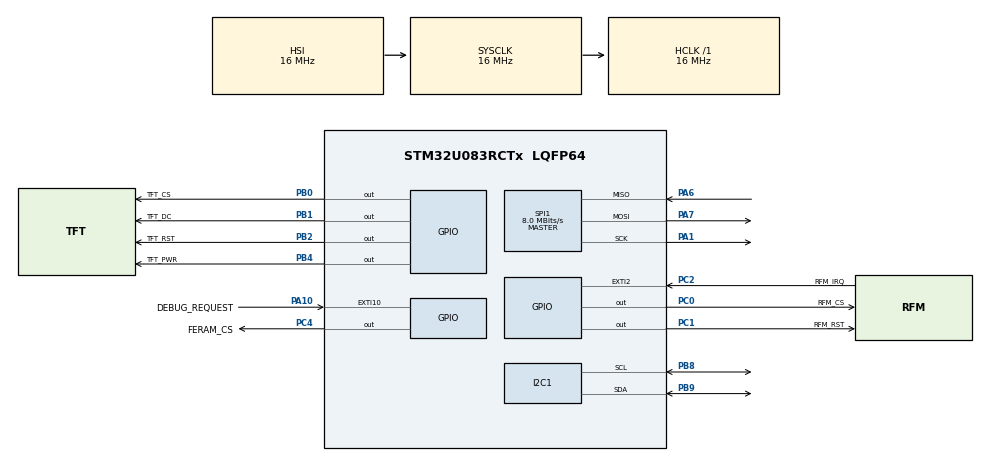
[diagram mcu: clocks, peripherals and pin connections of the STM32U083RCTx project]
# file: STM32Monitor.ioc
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CRC.CRCLength=CRC_POLYLENGTH_16B
CRC.DefaultInitValueUse=DEFAULT_INIT_VALUE_DISABLE
CRC.DefaultPolynomialUse=DEFAULT_POLYNOMIAL_DISABLE
CRC.GeneratingPolynomial=X12+X5+X0
CRC.InitValue=0xFFFF
I2C1.Timing=0x00303D5B
Mcu.Family=STM32U0
Mcu.Name=STM32U083RCTx
Mcu.Package=LQFP64
NUCLEO-U083RC.BUTTON=1
NUCLEO-U083RC.LD4=true
NUCLEO-U083RC.VCP=true
NVIC.EXTI4_15_IRQn=true\:0\:0\:false\:false\:true\:false\:true\:true
NVIC.PriorityGroup=NVIC_PRIORITYGROUP_2
NVIC.RTC_TAMP_IRQn=true\:0\:0\:false\:false\:true\:true\:true\:true
PA1.Mode=Full_Duplex_Master
PA1.Signal=SPI1_SCK
PA10.GPIO_Label=DEBUG_REQUEST
PA10.GPIO_ModeDefaultEXTI=GPIO_MODE_IT_RISING_FALLING
PA10.GPIO_PuPd=GPIO_PULLUP
PA10.Signal=GPXTI10
PA13\ (SWDIO).GPIO_Label=SWDIO
PA13\ (SWDIO).Signal=DEBUG_JTMS-SWDIO
PA14\ (SWCLK).GPIO_Label=SWCLK
PA14\ (SWCLK).Signal=DEBUG_JTCK-SWCLK
PA2.Signal=USART2_TX
PA3.Signal=USART2_RX
PA6.Mode=Full_Duplex_Master
PA6.Signal=SPI1_MISO
PA7.Mode=Full_Duplex_Master
PA7.Signal=SPI1_MOSI
PB0.GPIO_Label=TFT_CS
PB0.Signal=GPIO_Output
PB1.GPIO_Label=TFT_DC
PB1.Signal=GPIO_Output
PB2.GPIO_Label=TFT_RST
PB2.Signal=GPIO_Output
PB4.GPIO_Label=TFT_PWR
PB4.Signal=GPIO_Output
PB8.Mode=I2C
PB8.Signal=I2C1_SCL
PB9.Mode=I2C
PB9.Signal=I2C1_SDA
PC0.GPIO_Label=RFM_CS
PC0.PinState=GPIO_PIN_SET
PC0.Signal=GPIO_Output
PC1.GPIO_Label=RFM_RST
PC1.PinState=GPIO_PIN_SET
PC1.Signal=GPIO_Output
PC14-OSC32_IN.GPIO_Label=OSC32_IN
PC14-OSC32_IN.Signal=RCC_OSC32_IN
PC15-OSC32_OUT.GPIO_Label=OSC32_OUT
PC15-OSC32_OUT.Signal=RCC_OSC32_OUT
PC2.GPIO_Label=RFM_IRQ
PC2.Signal=GPXTI2
PC4.GPIO_Label=FERAM_CS
PC4.PinState=GPIO_PIN_SET
PC4.Signal=GPIO_Output
PF0-OSC_IN.GPIO_Label=OSC_IN
PF0-OSC_IN.Signal=RCC_OSC_IN
PF1-OSC_OUT.GPIO_Label=OSC_OUT
PF1-OSC_OUT.Signal=RCC_OSC_OUT
ProjectManager.HeapSize=0x200
ProjectManager.StackSize=0x400
ProjectManager.TargetToolchain=STM32CubeIDE
RCC.AHBFreq_Value=16000000
RCC.CortexFreq_Value=16000000
RCC.HCLKFreq_Value=16000000
RCC.HSE_VALUE=4000000
RCC.HSI48_VALUE=48000000
RCC.HSI_VALUE=16000000
RCC.LSE_VALUE=32768
RCC.MSI_VALUE=4000000
RCC.SYSCLKFreq_VALUE=16000000
RCC.VCOOutputFreq_Value=64000000
SPI1.CalculateBaudRate=8.0 MBits/s
SPI1.DataSize=SPI_DATASIZE_8BIT
SPI1.Direction=SPI_DIRECTION_2LINES
SPI1.Mode=SPI_MODE_MASTER
SPI1.NSSPMode=SPI_NSS_PULSE_DISABLE
SPI1.VirtualType=VM_MASTER
VP_CRC_VS_CRC.Mode=CRC_Activate
VP_NUCLEO-U083RC_VS_BSP_COMMON.Mode=COMMON
VP_PWR_VS_SECSignals.Mode=Security/Privilege
VP_RTC_VS_RTC_Activate.Mode=RTC_Enabled
VP_RTC_VS_RTC_WakeUp_intern.Mode=WakeUp
board=NUCLEO-U083RC

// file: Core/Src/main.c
/* USER CODE BEGIN Header */
/**
  ******************************************************************************
  * @file           : main.c
  * @brief          : Main program body
  ******************************************************************************
  * @attention
  *
  * Copyright (c) 2026 STMicroelectronics.
  * All rights reserved.
  *
  * This software is licensed under terms that can be found in the LICENSE file
  * in the root directory of this software component.
  * If no LICENSE file comes with this software, it is provided AS-IS.
  *
  ******************************************************************************
  */
/* USER CODE END Header */
#include "main.h"

/* USER CODE BEGIN Includes */

#include "fram.h"
#include "power.h"

#include "driver_htu21d.h"
#include "driver_htu21d_interface.h"

#include "st7735.h"
#include "gfx.h"

#include "nau7802.h"

#include "rfm95.h"

#include "fram_queue.h"
#include "hive_packet.h"

/* USER CODE END Includes */

COM_InitTypeDef BspCOMInit;

CRC_HandleTypeDef hcrc;

I2C_HandleTypeDef hi2c1;

RTC_HandleTypeDef hrtc;

SPI_HandleTypeDef hspi1;

/* USER CODE BEGIN PV */

htu21d_handle_t htu21d;

HivePacket packet;

volatile uint8_t debug_requested = 0;

uint8_t tx_success = 0;

/* USER CODE END PV */

void SystemClock_Config(void);
static void MX_GPIO_Init(void);
static void MX_I2C1_Init(void);
void MX_SPI1_Init(void);
static void MX_RTC_Init(void);
static void MX_CRC_Init(void);

int main(void)
{

  /* MCU Configuration--------------------------------------------------------*/

  /* Reset of all peripherals, Initializes the Flash interface and the Systick. */
  HAL_Init();

  /* Configure the system clock */
  SystemClock_Config();

  /* Initialize all configured peripherals */
  MX_GPIO_Init();
  MX_I2C1_Init();
  MX_SPI1_Init();
  MX_RTC_Init();
  MX_CRC_Init();
  /* USER CODE BEGIN 2 */

  Set_RTC_Default_Time();

  FRAM_Init();
  FRAM_QueueInit();

  	uint8_t res;
	uint16_t temperature_raw;
	uint16_t humidity_raw;
	float temperature;
	float humidity;

	DRIVER_HTU21D_LINK_INIT(&htu21d, htu21d_handle_t);
	DRIVER_HTU21D_LINK_IIC_INIT(&htu21d, htu21d_interface_iic_init);
	DRIVER_HTU21D_LINK_IIC_DEINIT(&htu21d, htu21d_interface_iic_deinit);
	DRIVER_HTU21D_LINK_IIC_WRITE_CMD(&htu21d, htu21d_interface_iic_write_cmd);
	DRIVER_HTU21D_LINK_IIC_READ_CMD(&htu21d, htu21d_interface_iic_read_cmd);
	DRIVER_HTU21D_LINK_IIC_WRITE(&htu21d, htu21d_interface_iic_write);
	DRIVER_HTU21D_LINK_IIC_READ(&htu21d, htu21d_interface_iic_read);
	DRIVER_HTU21D_LINK_IIC_READ_WITH_SCL(&htu21d, htu21d_interface_iic_read_with_scl);
	DRIVER_HTU21D_LINK_DELAY_MS(&htu21d, htu21d_interface_delay_ms);
	DRIVER_HTU21D_LINK_DEBUG_PRINT(&htu21d, htu21d_interface_debug_print);

	res = htu21d_init(&htu21d);

	if (res != 0)
	{
		/* Sensor initialization failed */
		Error_Handler();
	}

	PowerOnDisplay();
	ST7735_Init();
	ST7735_Fill(ST7735_BLACK);

	GFX_Init();

	res = NAU7802_Init();

	if (res != 0)
	{
		Error_Handler();
	}

	int32_t weight;

	SX1276_HandleTypedef rfm95 = {
		.hspi = &hspi1,
		.nss_port = RFM_CS_GPIO_Port,
		.nss_pin = RFM_CS_Pin,
		.rst_port = RFM_RST_GPIO_Port,
		.rst_pin = RFM_RST_Pin
	};

	LORA_CONFIG_TYPEDEF lora_config = {
		.frequency = 915000000UL,
		.spreading_Factor = 7,
		.bandwidth = 125000,
		.coding_Rate = 5,
		.tx_Power = 17,
		.use_Pa_Boost = 1,
		.preamble_Length = 8,
		.sync_Word = 0x12,
		.enable_CRC = 1,
		.implicit_header = 0
	};

	lora_init(&rfm95, &lora_config);

	uint8_t retries = 0;

  /* USER CODE END 2 */

  /* Initialize leds */
  BSP_LED_Init(LED_GREEN);

  /* Initialize USER push-button, will be used to trigger an interrupt each time it's pressed.*/
  BSP_PB_Init(BUTTON_USER, BUTTON_MODE_EXTI);

  /* Initialize COM1 port (115200, 8 bits (7-bit data + 1 stop bit), no parity */
  BspCOMInit.BaudRate   = 115200;
  BspCOMInit.WordLength = COM_WORDLENGTH_8B;
  BspCOMInit.StopBits   = COM_STOPBITS_1;
  BspCOMInit.Parity     = COM_PARITY_NONE;
  BspCOMInit.HwFlowCtl  = COM_HWCONTROL_NONE;
  if (BSP_COM_Init(COM1, &BspCOMInit) != BSP_ERROR_NONE)
  {
    Error_Handler();
  }

  /* Infinite loop */
  while (1)
  {

    /* USER CODE BEGIN 3 */

  // Just woke up
  PowerUp();
  HAL_GPIO_WritePin(GPIOA, GPIO_PIN_5, GPIO_PIN_SET);

  if(debug_requested){
	  PowerOnDisplay();

	  GFX_SetCursor(2, 2);
	  GFX_SetTextColor(ST7735_GREEN);
	  GFX_Print("DEBUG");
	  GFX_SetTextColor(ST7735_WHITE);

	  while(debug_requested){
		  res = htu21d_read_temperature_humidity(
			  &htu21d,
			  &temperature_raw,
			  &temperature,
			  &humidity_raw,
			  &humidity
		  );

		  NAU7802_ReadADC(&weight);

		  char buffer[32];
		  temperature = (temperature * 9 / 5) + 32;
		  sprintf(buffer, "Hive Temp: %.2f F", temperature);
		  GFX_SetCursor(2, 12);
		  GFX_Print(buffer);

		  sprintf(buffer, "Hive Hum.: %.2f %%", humidity);
		  GFX_SetCursor(2, 24);
		  GFX_Print(buffer);

		  sprintf(buffer, "Weight: %ld", weight);
		  GFX_SetCursor(2, 36);
		  GFX_Print(buffer);

		  HAL_Delay(200);
	  }
  }

  // Powered On

  res = htu21d_read_temperature_humidity(
	  &htu21d,
	  &temperature_raw,
	  &temperature,
	  &humidity_raw,
	  &humidity
  );

  NAU7802_ReadADC(&weight);

  packet.version = 1;
  packet.node_id = 1;
  packet.sequence++;

  packet.timestamp = (uint32_t)GetTimestamp();

  packet.weight = weight;
  packet.temperature = temperature*100;
  packet.humidity = humidity*100;

  packet.external_temperature = 0;
  packet.external_humidity = 0;

  packet.crc = (uint16_t)HAL_CRC_Calculate(
      &hcrc,
      (uint32_t *)&packet,
      sizeof(packet) - sizeof(packet.crc)
  );

  tx_success = TransmitPacket(&packet);

  if(!tx_success)
  {
	  // failed after a packet TX
	  packet.backlog++;
	  packet.crc = (uint16_t)HAL_CRC_Calculate(
	        &hcrc,
	        (uint32_t *)&packet,
	        sizeof(packet) - sizeof(packet.crc)
	    );
	  HAL_StatusTypeDef push_status = FRAM_Push(&packet);
	  if(push_status != HAL_OK){
		  Error_Handler();
	  }
  }

  if(tx_success)
  {
	// okay, retry
	while(FRAM_GetCount()){
		if(FRAM_Peek(&packet) == HAL_OK)
		{
			tx_success = TransmitPacket(&packet);
			if(!tx_success){
				break;
			}
			FRAM_Pop();
		}
	}
	if(FRAM_GetCount() == 0){
		// no backlog
		packet.backlog = 0;
		packet.crc = (uint16_t)HAL_CRC_Calculate(
			  &hcrc,
			  (uint32_t *)&packet,
			  sizeof(packet) - sizeof(packet.crc)
		);
	}
  }

  // Power Down
  HAL_GPIO_WritePin(GPIOA, GPIO_PIN_5, GPIO_PIN_RESET);

  PowerOffDisplay();
  EnterSleep();
  }
  /* USER CODE END 3 */
}

void SystemClock_Config(void)
{
  RCC_OscInitTypeDef RCC_OscInitStruct = {0};
  RCC_ClkInitTypeDef RCC_ClkInitStruct = {0};

  /** Configure the main internal regulator output voltage
  */
  HAL_PWREx_ControlVoltageScaling(PWR_REGULATOR_VOLTAGE_SCALE2);

  /** Initializes the RCC Oscillators according to the specified parameters
  * in the RCC_OscInitTypeDef structure.
  */
  RCC_OscInitStruct.OscillatorType = RCC_OSCILLATORTYPE_HSI|RCC_OSCILLATORTYPE_LSI;
  RCC_OscInitStruct.HSIState = RCC_HSI_ON;
  RCC_OscInitStruct.HSICalibrationValue = RCC_HSICALIBRATION_DEFAULT;
  RCC_OscInitStruct.LSIState = RCC_LSI_ON;
  RCC_OscInitStruct.PLL.PLLState = RCC_PLL_NONE;
  if (HAL_RCC_OscConfig(&RCC_OscInitStruct) != HAL_OK)
  {
    Error_Handler();
  }

  /** Initializes the CPU, AHB and APB buses clocks
  */
  RCC_ClkInitStruct.ClockType = RCC_CLOCKTYPE_HCLK|RCC_CLOCKTYPE_SYSCLK
                              |RCC_CLOCKTYPE_PCLK1;
  RCC_ClkInitStruct.SYSCLKSource = RCC_SYSCLKSOURCE_HSI;
  RCC_ClkInitStruct.AHBCLKDivider = RCC_SYSCLK_DIV1;
  RCC_ClkInitStruct.APB1CLKDivider = RCC_HCLK_DIV1;

  if (HAL_RCC_ClockConfig(&RCC_ClkInitStruct, FLASH_LATENCY_1) != HAL_OK)
  {
    Error_Handler();
  }
}

static void MX_CRC_Init(void)
{

  hcrc.Instance = CRC;
  hcrc.Init.DefaultPolynomialUse = DEFAULT_POLYNOMIAL_DISABLE;
  hcrc.Init.DefaultInitValueUse = DEFAULT_INIT_VALUE_DISABLE;
  hcrc.Init.GeneratingPolynomial = 4129;
  hcrc.Init.CRCLength = CRC_POLYLENGTH_16B;
  hcrc.Init.InitValue = 0xFFFF;
  hcrc.Init.InputDataInversionMode = CRC_INPUTDATA_INVERSION_NONE;
  hcrc.Init.OutputDataInversionMode = CRC_OUTPUTDATA_INVERSION_DISABLE;
  hcrc.InputDataFormat = CRC_INPUTDATA_FORMAT_BYTES;
  if (HAL_CRC_Init(&hcrc) != HAL_OK)
  {
    Error_Handler();
  }

}

static void MX_I2C1_Init(void)
{

  hi2c1.Instance = I2C1;
  hi2c1.Init.Timing = 0x00303D5B;
  hi2c1.Init.OwnAddress1 = 0;
  hi2c1.Init.AddressingMode = I2C_ADDRESSINGMODE_7BIT;
  hi2c1.Init.DualAddressMode = I2C_DUALADDRESS_DISABLE;
  hi2c1.Init.OwnAddress2 = 0;
  hi2c1.Init.OwnAddress2Masks = I2C_OA2_NOMASK;
  hi2c1.Init.GeneralCallMode = I2C_GENERALCALL_DISABLE;
  hi2c1.Init.NoStretchMode = I2C_NOSTRETCH_DISABLE;
  if (HAL_I2C_Init(&hi2c1) != HAL_OK)
  {
    Error_Handler();
  }

  /** Configure Analogue filter
  */
  if (HAL_I2CEx_ConfigAnalogFilter(&hi2c1, I2C_ANALOGFILTER_ENABLE) != HAL_OK)
  {
    Error_Handler();
  }

  /** Configure Digital filter
  */
  if (HAL_I2CEx_ConfigDigitalFilter(&hi2c1, 0) != HAL_OK)
  {
    Error_Handler();
  }

}

static void MX_RTC_Init(void)
{

  /** Initialize RTC Only
  */
  hrtc.Instance = RTC;
  hrtc.Init.HourFormat = RTC_HOURFORMAT_24;
  hrtc.Init.AsynchPrediv = 127;
  hrtc.Init.SynchPrediv = 255;
  hrtc.Init.OutPut = RTC_OUTPUT_DISABLE;
  hrtc.Init.OutPutRemap = RTC_OUTPUT_REMAP_NONE;
  hrtc.Init.OutPutPolarity = RTC_OUTPUT_POLARITY_HIGH;
  hrtc.Init.OutPutType = RTC_OUTPUT_TYPE_OPENDRAIN;
  hrtc.Init.OutPutPullUp = RTC_OUTPUT_PULLUP_NONE;
  hrtc.Init.BinMode = RTC_BINARY_NONE;
  if (HAL_RTC_Init(&hrtc) != HAL_OK)
  {
    Error_Handler();
  }

  /** Enable the WakeUp
  */
  if (HAL_RTCEx_SetWakeUpTimer_IT(&hrtc, 0, RTC_WAKEUPCLOCK_RTCCLK_DIV16, 0) != HAL_OK)
  {
    Error_Handler();
  }

}

void MX_SPI1_Init(void)
{

  /* SPI1 parameter configuration*/
  hspi1.Instance = SPI1;
  hspi1.Init.Mode = SPI_MODE_MASTER;
  hspi1.Init.Direction = SPI_DIRECTION_2LINES;
  hspi1.Init.DataSize = SPI_DATASIZE_8BIT;
  hspi1.Init.CLKPolarity = SPI_POLARITY_LOW;
  hspi1.Init.CLKPhase = SPI_PHASE_1EDGE;
  hspi1.Init.NSS = SPI_NSS_SOFT;
  hspi1.Init.BaudRatePrescaler = SPI_BAUDRATEPRESCALER_2;
  hspi1.Init.FirstBit = SPI_FIRSTBIT_MSB;
  hspi1.Init.TIMode = SPI_TIMODE_DISABLE;
  hspi1.Init.CRCCalculation = SPI_CRCCALCULATION_DISABLE;
  hspi1.Init.CRCPolynomial = 7;
  hspi1.Init.CRCLength = SPI_CRC_LENGTH_DATASIZE;
  hspi1.Init.NSSPMode = SPI_NSS_PULSE_DISABLE;
  if (HAL_SPI_Init(&hspi1) != HAL_OK)
  {
    Error_Handler();
  }

}

static void MX_GPIO_Init(void)
{
  GPIO_InitTypeDef GPIO_InitStruct = {0};

  /* GPIO Ports Clock Enable */
  __HAL_RCC_GPIOC_CLK_ENABLE();
  __HAL_RCC_GPIOF_CLK_ENABLE();
  __HAL_RCC_GPIOA_CLK_ENABLE();
  __HAL_RCC_GPIOB_CLK_ENABLE();

  /*Configure GPIO pin Output Level */
  HAL_GPIO_WritePin(GPIOC, RFM_CS_Pin|RFM_RST_Pin|FERAM_CS_Pin, GPIO_PIN_SET);

  /*Configure GPIO pin Output Level */
  HAL_GPIO_WritePin(GPIOB, TFT_CS_Pin|TFT_DC_Pin|TFT_RST_Pin|TFT_PWR_Pin, GPIO_PIN_RESET);

  /*Configure GPIO pins : RFM_CS_Pin RFM_RST_Pin FERAM_CS_Pin */
  GPIO_InitStruct.Pin = RFM_CS_Pin|RFM_RST_Pin|FERAM_CS_Pin;
  GPIO_InitStruct.Mode = GPIO_MODE_OUTPUT_PP;
  GPIO_InitStruct.Pull = GPIO_NOPULL;
  GPIO_InitStruct.Speed = GPIO_SPEED_FREQ_LOW;
  HAL_GPIO_Init(GPIOC, &GPIO_InitStruct);

  /*Configure GPIO pin : RFM_IRQ_Pin */
  GPIO_InitStruct.Pin = RFM_IRQ_Pin;
  GPIO_InitStruct.Mode = GPIO_MODE_IT_RISING;
  GPIO_InitStruct.Pull = GPIO_NOPULL;
  HAL_GPIO_Init(RFM_IRQ_GPIO_Port, &GPIO_InitStruct);

  /*Configure GPIO pins : TFT_CS_Pin TFT_DC_Pin TFT_RST_Pin TFT_PWR_Pin */
  GPIO_InitStruct.Pin = TFT_CS_Pin|TFT_DC_Pin|TFT_RST_Pin|TFT_PWR_Pin;
  GPIO_InitStruct.Mode = GPIO_MODE_OUTPUT_PP;
  GPIO_InitStruct.Pull = GPIO_NOPULL;
  GPIO_InitStruct.Speed = GPIO_SPEED_FREQ_LOW;
  HAL_GPIO_Init(GPIOB, &GPIO_InitStruct);

  /*Configure GPIO pin : DEBUG_REQUEST_Pin */
  GPIO_InitStruct.Pin = DEBUG_REQUEST_Pin;
  GPIO_InitStruct.Mode = GPIO_MODE_IT_RISING_FALLING;
  GPIO_InitStruct.Pull = GPIO_PULLUP;
  HAL_GPIO_Init(DEBUG_REQUEST_GPIO_Port, &GPIO_InitStruct);

  /* EXTI interrupt init*/
  HAL_NVIC_SetPriority(EXTI4_15_IRQn, 0, 0);
  HAL_NVIC_EnableIRQ(EXTI4_15_IRQn);

}

/* USER CODE BEGIN 4 */

void HAL_GPIO_EXTI_Falling_Callback(uint16_t GPIO_Pin)
{
    if (GPIO_Pin == DEBUG_REQUEST_Pin)
    {
        debug_requested = 1;
    }
}

void HAL_GPIO_EXTI_Rising_Callback(uint16_t GPIO_Pin)
{
    if (GPIO_Pin == DEBUG_REQUEST_Pin)
    {
        debug_requested = 0;
    }
}

/* USER CODE END 4 */

void Error_Handler(void)
{
  __disable_irq();
  while (1)
  {
  }
}
